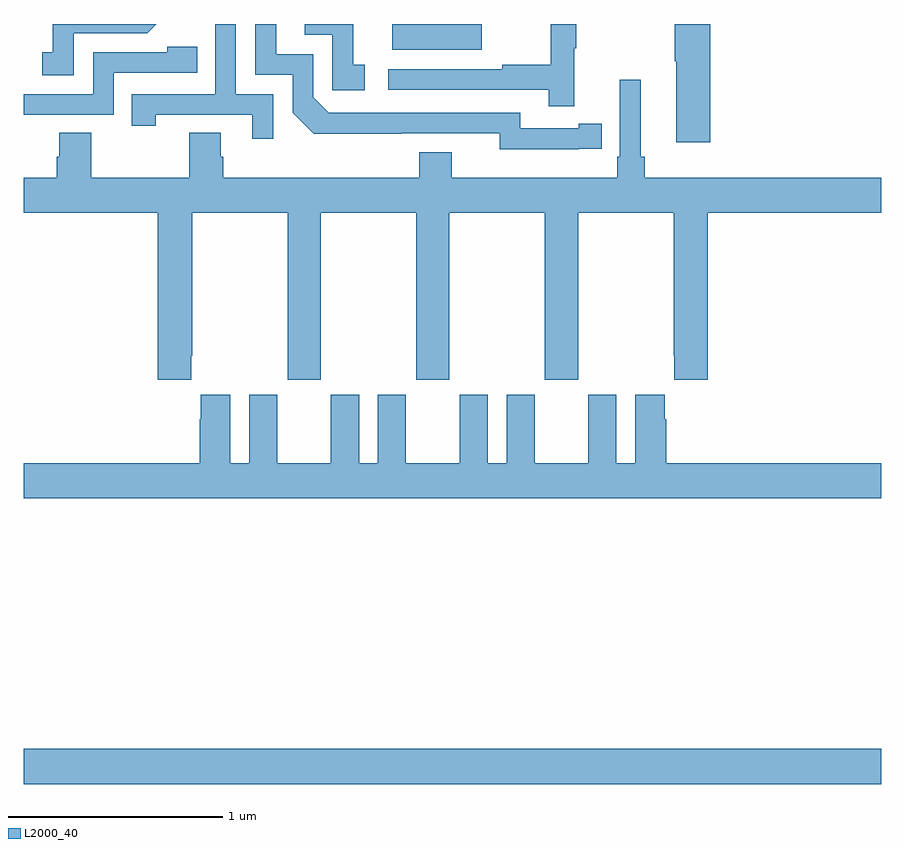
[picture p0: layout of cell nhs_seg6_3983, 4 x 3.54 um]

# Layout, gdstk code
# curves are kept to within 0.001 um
import gdstk
lib = gdstk.Library(unit=1e-6, precision=1e-09)
def R(c, l, rs):  # rectangles x0, y0, x1, y1
    for r in rs: c.add(gdstk.rectangle(r[:2], r[2:], *l))
def P(c, l, *ps):  # polygons
    for p in ps: c.add(gdstk.Polygon(p, *l))
L2000_40 = (2000, 40)

nhs_seg6_3983 = lib.new_cell('nhs_seg6_3983')
R(nhs_seg6_3983, L2000_40, [(345,993.956,349,994.12), (346.718,997.379,347.137,997.5)])
P(nhs_seg6_3983, L2000_40, [(348.203,997.5),(348.037,997.5),(348.037,997.327),(348.044,997.327),(348.044,996.948),(348.203,996.948)],
  [(347.567,997.387),(347.578,997.387),(347.578,997.5),(347.457,997.5),(347.457,997.31),(347.233,997.31),(347.233,997.29),(346.701,997.29),(346.701,997.194),(347.449,997.194),(347.449,997.116),(347.567,997.116)],
  [(346.164,997.173),(345.99,997.173),(345.99,997.5),(345.894,997.5),(345.894,997.173),(345.505,997.173),(345.505,997.026),(345.616,997.026),(345.616,997.077),(346.067,997.077),(346.067,996.966),(346.164,996.966)],
  [(345.234,997.458),(345.576,997.458),(345.618,997.5),(345.136,997.5),(345.136,997.369),(345.087,997.369),(345.087,997.26),(345.234,997.26)],
  [(347.588,996.918),(347.696,996.918),(347.696,997.034),(347.588,997.034),(347.588,997.014),(347.316,997.014),(347.316,997.086),(346.422,997.086),(346.35,997.158),(346.35,997.359),(346.177,997.359),(346.177,997.5),(346.08,997.5),(346.08,997.263),(346.254,997.263),(346.254,997.086),(346.352,996.989),(347.22,996.99),(347.22,996.917)],
  [(346.591,997.311),(346.538,997.311),(346.538,997.5),(346.311,997.5),(346.311,997.449),(346.44,997.449),(346.44,997.191),(346.591,997.191)],
  [(345.42,997.272),(345.809,997.272),(345.809,997.395),(345.669,997.395),(345.669,997.368),(345.324,997.368),(345.324,997.173),(345,997.173),(345,997.077),(345.42,997.077)],
  [(345.781,995.953),(345.786,995.953),(345.786,996.62),(346.231,996.62),(346.231,995.841),(346.386,995.841),(346.386,996.62),(346.831,996.62),(346.831,995.841),(346.986,995.841),(346.986,996.62),(347.431,996.62),(347.431,995.841),(347.586,995.841),(347.586,996.62),(348.031,996.62),(348.031,995.953),(348.035,995.953),(348.035,995.841),(348.191,995.841),(348.191,996.62),(349,996.62),(349,996.784),(347.897,996.784),(347.897,996.88),(347.878,996.88),(347.878,997.24),(347.781,997.24),(347.781,996.88),(347.768,996.88),(347.768,996.784),(346.996,996.784),(346.996,996.901),(346.844,996.901),(346.844,996.784),(345.932,996.784),(345.932,996.882),(345.919,996.882),(345.919,996.992),(345.772,996.992),(345.772,996.784),(345.315,996.784),(345.315,996.992),(345.167,996.992),(345.167,996.882),(345.155,996.882),(345.155,996.784),(345,996.784),(345,996.62),(345.626,996.62),(345.626,995.841),(345.781,995.841)],
  [(349,995.452),(347.996,995.452),(347.996,995.657),(347.989,995.657),(347.989,995.77),(347.852,995.77),(347.852,995.452),(347.764,995.452),(347.764,995.77),(347.633,995.77),(347.633,995.452),(347.383,995.452),(347.383,995.77),(347.252,995.77),(347.252,995.452),(347.164,995.452),(347.164,995.77),(347.033,995.77),(347.033,995.452),(346.783,995.452),(346.783,995.77),(346.652,995.77),(346.652,995.452),(346.564,995.452),(346.564,995.77),(346.433,995.77),(346.433,995.452),(346.183,995.452),(346.183,995.77),(346.052,995.77),(346.052,995.452),(345.964,995.452),(345.964,995.77),(345.827,995.77),(345.827,995.657),(345.821,995.657),(345.821,995.452),(345,995.452),(345,995.288),(349,995.288)])

lib.write_gds('nhs_seg6_3983.gds')
